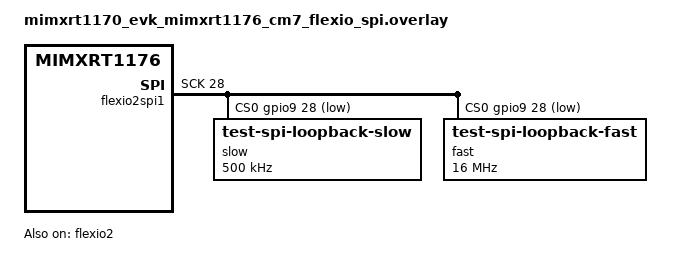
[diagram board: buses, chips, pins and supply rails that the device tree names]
/*
 * Copyright 2025 NXP
 *
 * SPDX-License-Identifier: Apache-2.0
 */

&lpspi1 {
	dmas = <&edma0 0 36>, <&edma0 1 37>;
	dma-names = "rx", "tx";
	status = "disabled";
};

&pinctrl {
	pinmux_flexio2spi1: pinmux_flexio2spi1 {
		group0 {
			pinmux = <&iomuxc_gpio_ad_29_gpio9_io28>, /* cs */
				 <&iomuxc_gpio_ad_28_flexio2_flexio28>, /* sck */
				 <&iomuxc_gpio_ad_30_flexio2_flexio30>, /* sdo */
				 <&iomuxc_gpio_ad_31_flexio2_flexio31>; /* sdi */
			drive-strength = "high";
			slew-rate = "slow";
		};
	};
};

&flexio2 {
	status = "okay";

	flexio2spi1: flexio2spi1 {
		compatible = "nxp,flexio-spi";
		cs-gpios = <&gpio9 28 GPIO_ACTIVE_LOW>;
		#address-cells = <1>;
		#size-cells = <0>;
		sdo-pin = <30>;
		sdi-pin = <31>;
		sck-pin = <28>;
		pinctrl-0 = <&pinmux_flexio2spi1>;
		pinctrl-names = "default";
		status = "okay";

		slow@0 {
			compatible = "test-spi-loopback-slow";
			reg = <0>;
			spi-max-frequency = <500000>;
		};
		fast@0 {
			compatible = "test-spi-loopback-fast";
			reg = <0>;
			spi-max-frequency = <16000000>;
		};
	};
};
